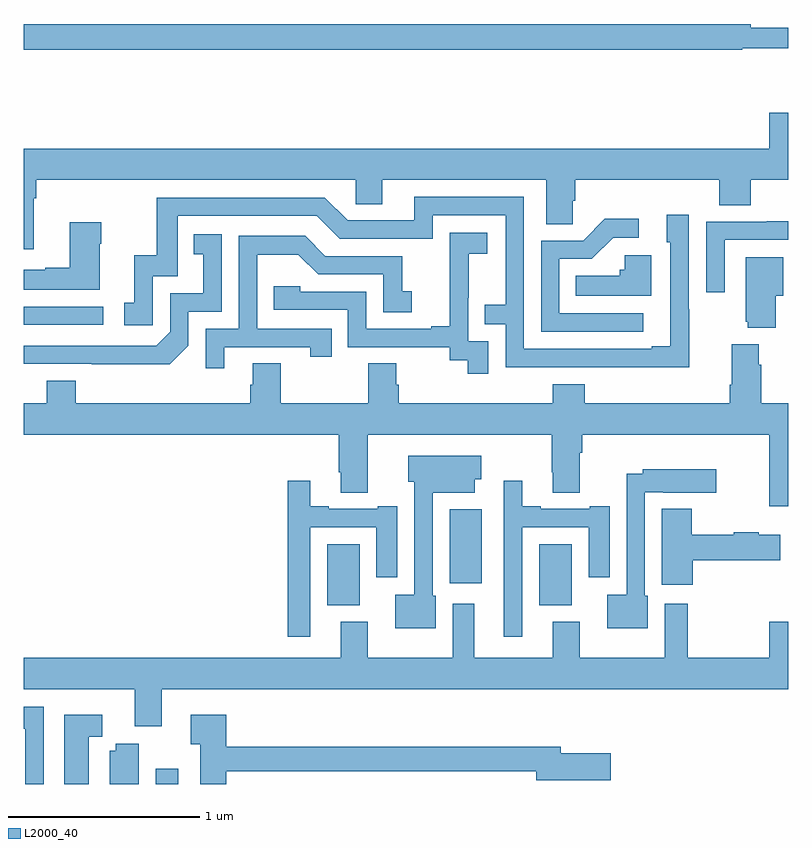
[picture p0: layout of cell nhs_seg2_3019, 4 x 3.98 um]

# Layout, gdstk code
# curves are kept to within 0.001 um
import gdstk
lib = gdstk.Library(unit=1e-6, precision=1e-09)
def R(c, l, rs):  # rectangles x0, y0, x1, y1
    for r in rs: c.add(gdstk.rectangle(r[:2], r[2:], *l))
def P(c, l, *ps):  # polygons
    for p in ps: c.add(gdstk.Polygon(p, *l))
L2000_40 = (2000, 40)

nhs_seg2_3019 = lib.new_cell('nhs_seg2_3019')
R(nhs_seg2_3019, L2000_40, [(269.691,653.8,269.808,653.881), (270.587,654.734,270.757,655.054), (271.697,654.734,271.867,655.054), (271.229,654.851,271.396,655.237), (269,656.202,269.416,656.298)])
P(nhs_seg2_3019, L2000_40, [(272.758,657.648),(273,657.648),(273,657.757),(272.804,657.757),(272.804,657.776),(269,657.776),(269,657.64),(272.758,657.64)],
  [(269.053,656.864),(269.066,656.864),(269.066,656.96),(270.738,656.96),(270.738,656.833),(270.877,656.833),(270.877,656.96),(271.733,656.96),(271.733,656.728),(271.872,656.728),(271.872,656.851),(271.886,656.851),(271.886,656.96),(272.639,656.96),(272.639,656.827),(272.804,656.827),(272.804,656.96),(273,656.96),(273,657.313),(272.9,657.313),(272.9,657.124),(269,657.124),(269,656.598),(269.053,656.598)],
  [(272.481,656.285),(272.478,656.285),(272.478,656.779),(272.363,656.779),(272.363,656.634),(272.382,656.634),(272.382,656.089),(272.285,656.089),(272.285,656.076),(271.617,656.076),(271.617,656.871),(271.043,656.871),(271.043,656.748),(270.696,656.748),(270.576,656.868),(269.697,656.868),(269.697,656.566),(269.579,656.566),(269.579,656.319),(269.526,656.319),(269.526,656.199),(269.676,656.199),(269.676,656.457),(269.805,656.457),(269.805,656.772),(270.534,656.772),(270.654,656.652),(271.14,656.652),(271.14,656.775),(271.521,656.775),(271.521,656.306),(271.411,656.306),(271.411,656.205),(271.521,656.205),(271.521,655.98),(272.481,655.979)],
  [(272.242,656.262),(271.803,656.262),(271.803,656.547),(271.972,656.547),(272.083,656.658),(272.218,656.658),(272.218,656.756),(272.039,656.756),(271.926,656.643),(271.707,656.643),(271.707,656.166),(272.242,656.166)],
  [(272.667,656.646),(273,656.646),(273,656.744),(272.887,656.744),(272.887,656.742),(272.571,656.742),(272.571,656.373),(272.667,656.373)],
  [(269.398,656.627),(269.406,656.627),(269.406,656.74),(269.24,656.74),(269.24,656.501),(269.114,656.501),(269.114,656.491),(269,656.491),(269,656.387),(269.398,656.387)],
  [(271.431,656.115),(271.326,656.115),(271.326,656.345),(271.328,656.345),(271.328,656.573),(271.426,656.573),(271.426,656.683),(271.228,656.683),(271.228,656.477),(271.229,656.477),(271.229,656.194),(271.133,656.194),(271.133,656.181),(270.792,656.181),(270.792,656.376),(270.447,656.376),(270.447,656.403),(270.307,656.403),(270.307,656.28),(270.696,656.28),(270.696,656.085),(271.23,656.085),(271.23,656.017),(271.323,656.017),(271.323,655.947),(271.431,655.947)],
  [(269.862,656.094),(269.862,656.271),(270.036,656.271),(270.036,656.677),(269.89,656.677),(269.89,656.571),(269.939,656.571),(269.939,656.367),(269.766,656.367),(269.766,656.166),(269.694,656.094),(269,656.094),(269,655.998),(269.764,655.997)],
  [(270.049,656.085),(270.5,656.085),(270.5,656.034),(270.611,656.034),(270.611,656.181),(270.222,656.181),(270.222,656.57),(270.436,656.57),(270.54,656.466),(270.882,656.466),(270.882,656.268),(271.03,656.268),(271.03,656.377),(270.981,656.377),(270.981,656.562),(270.577,656.562),(270.472,656.667),(270.126,656.667),(270.126,656.181),(269.952,656.181),(269.952,655.974),(270.049,655.974)],
  [(272.284,656.566),(272.145,656.566),(272.145,656.49),(272.119,656.49),(272.119,656.458),(271.888,656.458),(271.888,656.354),(272.284,656.354)],
  [(272.935,656.354),(272.974,656.354),(272.974,656.557),(272.777,656.557),(272.777,656.217),(272.789,656.217),(272.789,656.186),(272.935,656.186)],
  [(270.345,656),(270.197,656),(270.197,655.89),(270.185,655.89),(270.185,655.792),(269.273,655.792),(269.273,655.909),(269.12,655.909),(269.12,655.792),(269,655.792),(269,655.628),(270.647,655.628),(270.647,655.432),(270.659,655.432),(270.659,655.324),(270.799,655.324),(270.799,655.628),(271.762,655.628),(271.762,655.432),(271.769,655.432),(271.769,655.324),(271.909,655.324),(271.909,655.532),(271.922,655.532),(271.922,655.628),(272.9,655.628),(272.9,655.254),(273,655.254),(273,655.792),(272.858,655.792),(272.858,655.994),(272.845,655.994),(272.845,656.101),(272.705,656.101),(272.705,655.888),(272.693,655.888),(272.693,655.792),(271.934,655.792),(271.934,655.891),(271.769,655.891),(271.769,655.792),(270.962,655.792),(270.962,655.89),(270.949,655.89),(270.949,656),(270.802,656),(270.802,655.792),(270.345,655.792)],
  [(271.156,654.786),(271.14,654.786),(271.14,655.325),(271.36,655.325),(271.36,655.394),(271.393,655.394),(271.393,655.516),(271.013,655.516),(271.013,655.382),(271.044,655.382),(271.044,654.79),(270.944,654.79),(270.944,654.614),(271.156,654.614)],
  [(272.266,654.786),(272.25,654.786),(272.25,655.326),(272.347,655.326),(272.347,655.325),(272.623,655.325),(272.623,655.447),(272.238,655.447),(272.238,655.424),(272.154,655.424),(272.154,654.79),(272.054,654.79),(272.054,654.614),(272.266,654.614)],
  [(270.498,655.143),(270.845,655.143),(270.845,654.882),(270.955,654.882),(270.955,655.252),(270.851,655.252),(270.851,655.239),(270.595,655.239),(270.595,655.252),(270.499,655.252),(270.499,655.387),(270.382,655.387),(270.382,654.57),(270.498,654.57)],
  [(271.608,655.143),(271.955,655.143),(271.955,654.882),(272.065,654.882),(272.065,655.252),(271.961,655.252),(271.961,655.239),(271.705,655.239),(271.705,655.252),(271.609,655.252),(271.609,655.387),(271.512,655.387),(271.512,654.57),(271.608,654.57)],
  [(272.501,654.971),(272.959,654.971),(272.959,655.105),(272.846,655.105),(272.846,655.118),(272.715,655.118),(272.715,655.105),(272.496,655.105),(272.496,655.24),(272.339,655.24),(272.339,654.843),(272.501,654.843)],
  [(269.722,654.296),(273,654.296),(273,654.649),(272.9,654.649),(272.9,654.46),(272.475,654.46),(272.475,654.742),(272.354,654.742),(272.354,654.46),(271.909,654.46),(271.909,654.649),(271.769,654.649),(271.769,654.46),(271.357,654.46),(271.357,654.742),(271.244,654.742),(271.244,654.46),(270.799,654.46),(270.799,654.649),(270.659,654.649),(270.659,654.46),(269,654.46),(269,654.296),(269.582,654.296),(269.582,654.102),(269.722,654.102)],
  [(269.106,654.204),(269,654.204),(269,654.088),(269.009,654.088),(269.009,653.825),(269.008,653.825),(269.008,653.8),(269.106,653.8)],
  [(270.059,653.866),(271.682,653.866),(271.682,653.819),(272.071,653.819),(272.071,653.961),(271.81,653.961),(271.81,653.995),(270.059,653.995),(270.059,654.163),(269.874,654.163),(269.874,654.007),(269.924,654.007),(269.924,653.8),(270.059,653.8)],
  [(269.341,654.048),(269.41,654.048),(269.41,654.163),(269.213,654.163),(269.213,653.8),(269.341,653.8)],
  [(269.602,654.011),(269.482,654.011),(269.482,653.974),(269.45,653.974),(269.45,653.8),(269.602,653.8)])

lib.write_gds('nhs_seg2_3019.gds')
